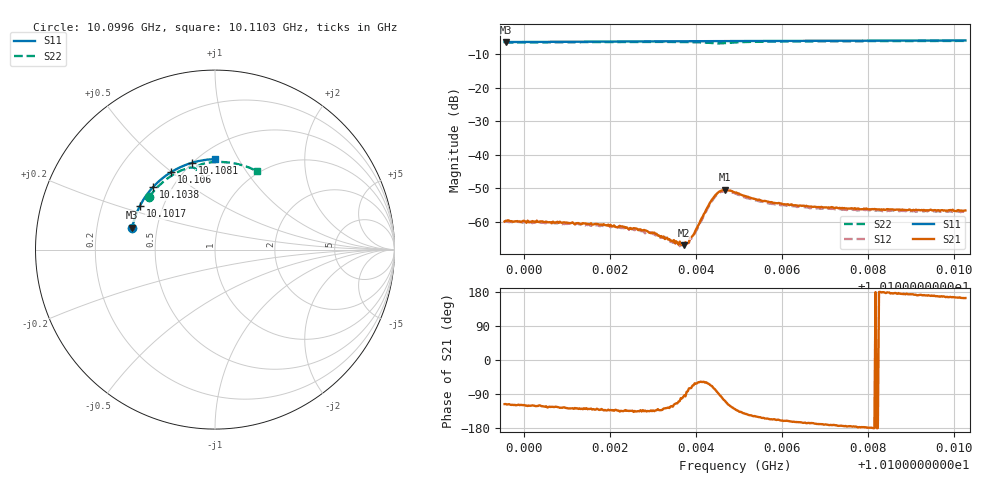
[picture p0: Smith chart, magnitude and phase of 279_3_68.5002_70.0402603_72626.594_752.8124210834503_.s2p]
#  HZ  S  RI  R  50.00
! Rohde & Schwarz Vector Network Analyzer
! Rohde-Schwarz,ZNB20-2Port,1311601062101988,3.16
! Created: UTC 3/20/2024, 5:01:05 PM
! freq[Hz]  re:S11  im:S11  re:S21  im:S21  re:S12  im:S12  re:S22  im:S22
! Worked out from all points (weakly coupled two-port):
!   401 points, 10.0996 GHz to 10.1103 GHz, reference 50 ohm
!   highest |S21| = -50.53 dB at 10.1047 GHz (marker M1); lowest = -67.1 dB at 10.1037 GHz (marker M2)
!   lowest |S11| = -6.4 dB at 10.0996 GHz (marker M3), VSWR 2.82, Z = 18 + j5.64 ohm
!   |S11| at or under -10 dB: nowhere
!   |S22| runs from -6.8 to -6.1 dB; largest |S21 - S12| = 0.00033
!   S11 on the Smith chart (normalised r, x): 10.0996 GHz: 0.36, +0.11; 10.1017 GHz: 0.37, +0.23; 10.1038 GHz: 0.39, +0.36; 10.106 GHz: 0.43, +0.50; 10.1081 GHz: 0.50, +0.64; 10.1103 GHz: 0.59, +0.80
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1.009956e10  -0.4617 0.1198  -0.000445 -0.000897  -0.000373 -0.000932  -0.3671 0.2931
1.009959e10  -0.4612 0.1213  -0.000452 -0.000917  -0.000375 -0.000957  -0.366 0.2944
1.010135e10  -0.4282 0.2234  -0.000571 -0.000723  -0.000527 -0.000739  -0.2885 0.3777
1.01017e10  -0.4189 0.2424  -0.000574 -0.000718  -0.000548 -0.000689  -0.2709 0.3917
1.010266e10  -0.3893 0.2928  -0.000524 -0.000529  -0.000481 -0.00057  -0.2181 0.4264
1.010304e10  -0.376 0.3112  -0.000483 -0.000482  -0.000398 -0.000505  -0.1957 0.4379
1.010314e10  -0.3722 0.3165  -0.000418 -0.000457  -0.000351 -0.000502  -0.1892 0.4407
1.010357e10  -0.3559 0.3365  -0.000199 -0.000441  -0.000134 -0.000428  -0.1614 0.4513
1.010373e10  -0.3493 0.344  -2.36e-05 -0.00044  1.56e-05 -0.000455  -0.1501 0.4543
1.010384e10  -0.3451 0.3486  0.000127 -0.000475  0.000122 -0.000466  -0.1425 0.4559
1.010397e10  -0.3394 0.3547  0.000328 -0.000602  0.000342 -0.000561  -0.1325 0.457
1.010429e10  -0.3256 0.3684  0.000795 -0.00153  0.000867 -0.0014  -0.1093 0.452
1.01044e10  -0.321 0.3727  0.000655 -0.00214  0.000791 -0.00199  -0.1054 0.4472
1.010453e10  -0.3151 0.3782  8.8e-06 -0.00278  0.000235 -0.00263  -0.106 0.4435
1.010467e10  -0.3092 0.3835  -0.000868 -0.00284  -0.000597 -0.00277  -0.1081 0.4469
1.010491e10  -0.2981 0.393  -0.00173 -0.00209  -0.00151 -0.00215  -0.1011 0.4605
1.010539e10  -0.2751 0.4111  -0.00185 -0.00111  -0.00167 -0.00121  -0.07 0.4769
1.010598e10  -0.2455 0.431  -0.00175 -0.000636  -0.00157 -0.00077  -0.0303 0.4853
1.01067e10  -0.2076 0.4523  -0.00161 -0.000388  -0.00153 -0.000496  0.0172 0.4885
1.010812e10  -0.1278 0.4838  -0.00152 -4.55e-06  -0.00147 -0.000156  0.1081 0.4804
1.010849e10  -0.1061 0.4898  -0.00151 5.56e-05  -0.00143 -6.63e-05  0.1314 0.4754
1.011025e10  -0.000422 0.5039  -0.0014 0.000415  -0.00137 0.000232  0.2366 0.4363
